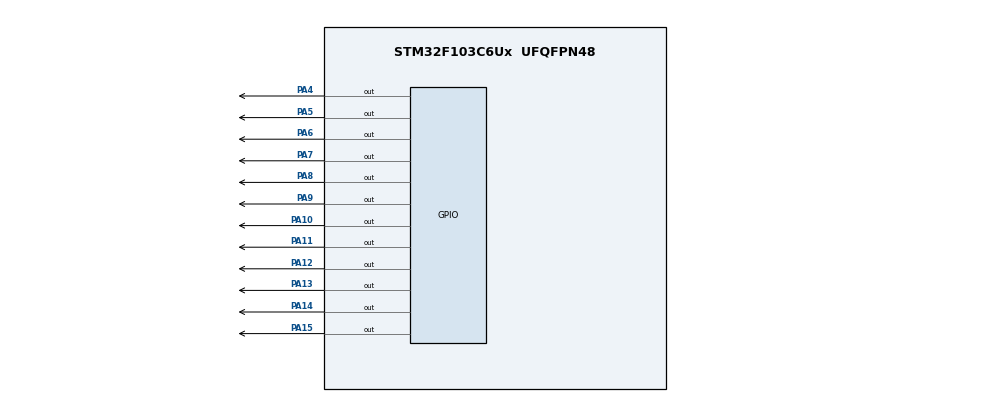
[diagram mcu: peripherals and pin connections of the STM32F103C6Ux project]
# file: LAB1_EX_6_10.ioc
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Mcu.Family=STM32F1
Mcu.Name=STM32F103C6Ux
Mcu.Package=UFQFPN48
NVIC.PriorityGroup=NVIC_PRIORITYGROUP_4
PA10.Signal=GPIO_Output
PA11.Signal=GPIO_Output
PA12.Signal=GPIO_Output
PA13.Signal=GPIO_Output
PA14.Signal=GPIO_Output
PA15.Signal=GPIO_Output
PA4.Signal=GPIO_Output
PA5.Signal=GPIO_Output
PA6.Signal=GPIO_Output
PA7.Signal=GPIO_Output
PA8.Signal=GPIO_Output
PA9.Signal=GPIO_Output
ProjectManager.HeapSize=0x200
ProjectManager.StackSize=0x400
ProjectManager.TargetToolchain=STM32CubeIDE
RCC.APB1Freq_Value=8000000
RCC.APB2Freq_Value=8000000
VP_SYS_VS_ND.Mode=No_Debug
board=custom

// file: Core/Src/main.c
/* USER CODE BEGIN Header */
/**
  ******************************************************************************
  * @file           : main.c
  * @brief          : Main program body
  ******************************************************************************
  * @attention
  *
  * <h2><center>&copy; Copyright (c) 2025 STMicroelectronics.
  * All rights reserved.</center></h2>
  *
  * This software component is licensed by ST under BSD 3-Clause license,
  * the "License"; You may not use this file except in compliance with the
  * License. You may obtain a copy of the License at:
  *                        opensource.org/licenses/BSD-3-Clause
  *
  ******************************************************************************
  */
/* USER CODE END Header */
#include "main.h"

void SystemClock_Config(void);
static void MX_GPIO_Init(void);
/* USER CODE BEGIN PFP */
uint16_t time_counter = 0;

void clearAllClock();
void setNumberOnClock(int num);
void clearNumberOnClock(int num);
void run_led_test();
void turnOnAll();
void Ex10();
void ex6();
void ex7();
void ex8();
void ex9();
/* USER CODE END PFP */

int main(void)
{

  /* MCU Configuration--------------------------------------------------------*/

  /* Reset of all peripherals, Initializes the Flash interface and the Systick. */
  HAL_Init();

  /* Configure the system clock */
  SystemClock_Config();

  /* Initialize all configured peripherals */
  MX_GPIO_Init();
  /* USER CODE BEGIN 2 */
  //int counter = 0;

  /* USER CODE END 2 */

  /* Infinite loop */
  /* USER CODE BEGIN WHILE */

  while (1)
  {
	  //ex6();
	  //ex7();
	  //ex8();
	  //ex9();
	  Ex6_7_8_9_10();

    /* USER CODE END WHILE */

  }
}

void SystemClock_Config(void)
{
  RCC_OscInitTypeDef RCC_OscInitStruct = {0};
  RCC_ClkInitTypeDef RCC_ClkInitStruct = {0};

  /** Initializes the RCC Oscillators according to the specified parameters
  * in the RCC_OscInitTypeDef structure.
  */
  RCC_OscInitStruct.OscillatorType = RCC_OSCILLATORTYPE_HSI;
  RCC_OscInitStruct.HSIState = RCC_HSI_ON;
  RCC_OscInitStruct.HSICalibrationValue = RCC_HSICALIBRATION_DEFAULT;
  RCC_OscInitStruct.PLL.PLLState = RCC_PLL_NONE;
  if (HAL_RCC_OscConfig(&RCC_OscInitStruct) != HAL_OK)
  {
    Error_Handler();
  }
  /** Initializes the CPU, AHB and APB buses clocks
  */
  RCC_ClkInitStruct.ClockType = RCC_CLOCKTYPE_HCLK|RCC_CLOCKTYPE_SYSCLK
                              |RCC_CLOCKTYPE_PCLK1|RCC_CLOCKTYPE_PCLK2;
  RCC_ClkInitStruct.SYSCLKSource = RCC_SYSCLKSOURCE_HSI;
  RCC_ClkInitStruct.AHBCLKDivider = RCC_SYSCLK_DIV1;
  RCC_ClkInitStruct.APB1CLKDivider = RCC_HCLK_DIV1;
  RCC_ClkInitStruct.APB2CLKDivider = RCC_HCLK_DIV1;

  if (HAL_RCC_ClockConfig(&RCC_ClkInitStruct, FLASH_LATENCY_0) != HAL_OK)
  {
    Error_Handler();
  }
}

static void MX_GPIO_Init(void)
{
  GPIO_InitTypeDef GPIO_InitStruct = {0};

  /* GPIO Ports Clock Enable */
  __HAL_RCC_GPIOA_CLK_ENABLE();

  /*Configure GPIO pin Output Level */
  HAL_GPIO_WritePin(GPIOA, GPIO_PIN_4|GPIO_PIN_5|GPIO_PIN_6|GPIO_PIN_7
                          |GPIO_PIN_8|GPIO_PIN_9|GPIO_PIN_10|GPIO_PIN_11
                          |GPIO_PIN_12|GPIO_PIN_13|GPIO_PIN_14|GPIO_PIN_15, GPIO_PIN_RESET);

  /*Configure GPIO pins : PA4 PA5 PA6 PA7
                           PA8 PA9 PA10 PA11
                           PA12 PA13 PA14 PA15 */
  GPIO_InitStruct.Pin = GPIO_PIN_4|GPIO_PIN_5|GPIO_PIN_6|GPIO_PIN_7
                          |GPIO_PIN_8|GPIO_PIN_9|GPIO_PIN_10|GPIO_PIN_11
                          |GPIO_PIN_12|GPIO_PIN_13|GPIO_PIN_14|GPIO_PIN_15;
  GPIO_InitStruct.Mode = GPIO_MODE_OUTPUT_PP;
  GPIO_InitStruct.Pull = GPIO_NOPULL;
  GPIO_InitStruct.Speed = GPIO_SPEED_FREQ_LOW;
  HAL_GPIO_Init(GPIOA, &GPIO_InitStruct);

}

/* USER CODE BEGIN 4 */

// Mảng hằng số để ánh xạ số từ 0-11 tới các chân GPIO từ PA4-PA15
// Cách này giúp code gọn gàng, không cần dùng if hoặc switch-case
const uint16_t led_pins[12] = {
    GPIO_PIN_4,  // Position 0 (12 o'clock)
    GPIO_PIN_5,  // Position 1 (1 o'clock)
    GPIO_PIN_6,  // Position 2 (2 o'clock)
    GPIO_PIN_7,  // Position 3 (3 o'clock)
    GPIO_PIN_8,  // Position 4 (4 o'clock)
    GPIO_PIN_9,  // Position 5 (5 o'clock)
    GPIO_PIN_10, // Position 6 (6 o'clock)
    GPIO_PIN_11, // Position 7 (7 o'clock)
    GPIO_PIN_12, // Position 8 (8 o'clock)
    GPIO_PIN_13, // Position 9 (9 o'clock)
    GPIO_PIN_14, // Position 10 (10 o'clock)
    GPIO_PIN_15  // Position 11 (11 o'clock)
};

//-------------------------------------------------------------------
// Exercise 7: Implement a function to turn off all 12 LEDs.
//-------------------------------------------------------------------
/**
  * @brief  Tắt tất cả 12 đèn LED trên đồng hồ.
  * @note   Sử dụng toán tử OR để gộp tất cả các chân và tắt trong một lệnh duy nhất.
  *         GPIO_PIN_SET sẽ đưa chân lên mức cao, tắt LED (giả sử LED nối với GND).
  * @retval None
  */
void clearAllClock() {
    HAL_GPIO_WritePin(GPIOA,
                      GPIO_PIN_4 | GPIO_PIN_5 | GPIO_PIN_6 | GPIO_PIN_7 |
                      GPIO_PIN_8 | GPIO_PIN_9 | GPIO_PIN_10 | GPIO_PIN_11 |
                      GPIO_PIN_12 | GPIO_PIN_13 | GPIO_PIN_14 | GPIO_PIN_15,
                      GPIO_PIN_RESET);
}

void turnOnAll(){
    HAL_GPIO_WritePin(GPIOA,
                      GPIO_PIN_4 | GPIO_PIN_5 | GPIO_PIN_6 | GPIO_PIN_7 |
                      GPIO_PIN_8 | GPIO_PIN_9 | GPIO_PIN_10 | GPIO_PIN_11 |
                      GPIO_PIN_12 | GPIO_PIN_13 | GPIO_PIN_14 | GPIO_PIN_15,
                      GPIO_PIN_SET);
}
//-------------------------------------------------------------------
// Exercise 8: Implement a function to turn on a specific LED.
//-------------------------------------------------------------------
/**
  * @brief  Bật một đèn LED tại vị trí được chỉ định.
  * @param  num: Số từ 0 đến 11 tương ứng với vị trí trên đồng hồ.
  * @note   Sử dụng mảng led_pins để lấy chân GPIO tương ứng.
  *         GPIO_PIN_RESET sẽ đưa chân về mức thấp, bật LED.
  * @retval None
  */
void setNumberOnClock(int num) {
    if (num >= 0 && num < 12) { // Kiểm tra đầu vào hợp lệ
        HAL_GPIO_WritePin(GPIOA, led_pins[num], GPIO_PIN_SET);
    }
}

//-------------------------------------------------------------------
// Exercise 9: Implement a function to turn off a specific LED.
//-------------------------------------------------------------------
/**
  * @brief  Tắt một đèn LED tại vị trí được chỉ định.
  * @param  num: Số từ 0 đến 11 tương ứng với vị trí trên đồng hồ.
  * @note   Sử dụng mảng led_pins để lấy chân GPIO tương ứng.
  *         GPIO_PIN_SET sẽ đưa chân lên mức cao, tắt LED.
  * @retval None
  */
void clearNumberOnClock(int num) {
    if (num >= 0 && num < 12) { // Kiểm tra đầu vào hợp lệ
        HAL_GPIO_WritePin(GPIOA, led_pins[num], GPIO_PIN_RESET);
    }
}

//-------------------------------------------------------------------
// Report 2: Implement a simple program to test the connection.
//-------------------------------------------------------------------
/**
  * @brief  Chạy chương trình kiểm tra, bật lần lượt từng LED.
  * @note   Hàm này sẽ chạy vô tận, mỗi LED sáng trong 200ms.
  * @retval None
  */
void run_led_test() {
    for (int i = 0; i < 12; i++) {
        clearAllClock(); // Xóa trạng thái cũ
        setNumberOnClock(i); // Bật LED hiện tại
        HAL_Delay(200); // Chỉ có 1 lệnh delay ở đây
    }
}

//-------------------------------------------------------------------
// Exercise 10: Integrate the whole system to display a clock.
//-------------------------------------------------------------------
/**
  * @brief  Chạy mô phỏng đồng hồ analog.
  * @note   Cập nhật và hiển thị kim giờ, phút, giây mỗi giây.
  *         Chỉ có 3 đèn LED sáng tại một thời điểm.
  * @retval None
  */
void ex6(){
	static int test = 0;
	HAL_GPIO_WritePin(GPIOA, led_pins[test], GPIO_PIN_SET);
	test++;
	if (test >= 12){
		test = 0;
	}
	HAL_Delay(1000);
}
void ex7(){
	static int test = 0;
	static int count = 0;
	HAL_GPIO_WritePin(GPIOA, led_pins[test], GPIO_PIN_SET);
	test++;
	count++;
	if (test >= 12){
		test = 0;

	}
	if (count >= 20){
		count = 0;
		clearAllClock();
	}
	HAL_Delay(200);

}
void ex8(){
	static int count = 0;

	setNumberOnClock(count);
	count++;
	if (count >= 12){
		count = 0;
	}
	HAL_Delay(200);
}
void ex9(){
	static int count = 0;
	turnOnAll();
	clearNumberOnClock(count);
	count++;
	if(count >= 12){
		count = 0;
		turnOnAll();
	}
	HAL_Delay(200);

}
void Ex10() {
    // Use 'static' so these variables retain their values between function calls
    // (in this case, between iterations of the while(1) loop)
    static int hour = 0, minute = 0, second = 0;

    // 1. Clear all LEDs before drawing the new hands
    clearAllClock();

    // 2. Display the three clock hands
    // Hour hand: `hour` already maps to positions 0-11
    setNumberOnClock(hour);
    // Minute hand: divide by 5 to convert 0-59 -> 0-11
    setNumberOnClock(minute / 5);
    // Second hand: divide by 5 to convert 0-59 -> 0-11
    setNumberOnClock(second / 5);

    // 3. Wait for a short period
    // NOTE: HAL_Delay(10) delays ~10 milliseconds. If you intend to wait 1 second,
    // use HAL_Delay(1000) instead.
    HAL_Delay(10);

    // 4. Update time for the next iteration
    second++;
    if (second >= 60) {
        second = 0;
        minute++;
    }
    if (minute >= 60) {
        minute = 0;
        hour++;
    }
    if (hour >= 12) {
        hour = 0;
    }
}

/* USER CODE END 4 */

void Error_Handler(void)
{
  __disable_irq();
  while (1)
  {
  }
}

/************************ (C) COPYRIGHT STMicroelectronics *****END OF FILE****/
